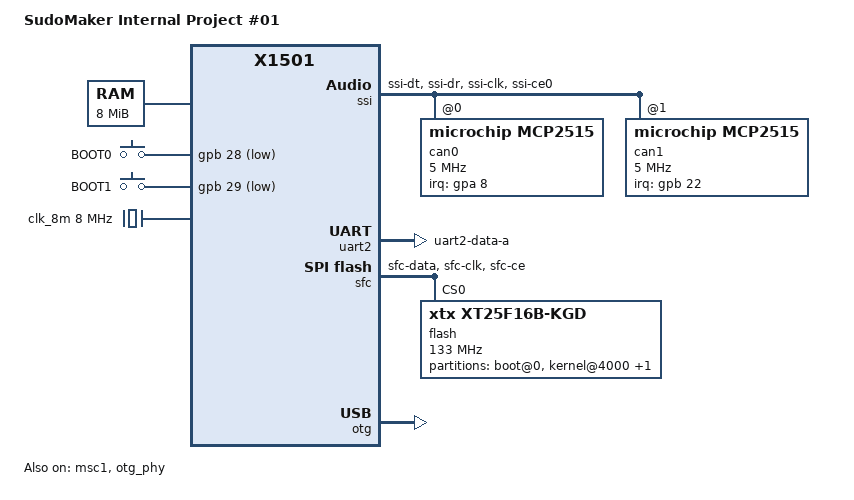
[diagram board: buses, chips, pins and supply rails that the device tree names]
/dts-v1/;

#include "x1501.dtsi"
#include <dt-bindings/gpio/gpio.h>
#include <dt-bindings/input/input.h>
#include <dt-bindings/clock/ingenic,sysost.h>
#include <dt-bindings/interrupt-controller/irq.h>

/ {
	compatible = "sudomaker,internal-01", "ingenic,x1501";
	model = "SudoMaker Internal Project #01";

	aliases {
		serial2 = &uart2;
	};

	chosen {
		stdout-path = "serial2:115200n8";
	};

	memory {
		device_type = "memory";
		reg = <0x0 0x00800000>;
	};

	gpio_keys {
		compatible = "gpio-keys";

		btn_lf {
			wakeup-source;
			label = "BOOT0";
			linux,code = <KEY_F1>;
			gpios = <&gpb 28 GPIO_ACTIVE_LOW>;
		};

		btn_rf {
			wakeup-source;
			label = "BOOT1";
			linux,code = <KEY_F2>;
			gpios = <&gpb 29 GPIO_ACTIVE_LOW>;
		};
	};

	clk_8m: clock {
		compatible = "fixed-clock";
		#clock-cells = <0>;
		clock-frequency = <8000000>;
		clock-accuracy = <100>;
	};
};

&exclk {
	clock-frequency = <24000000>;
};

&cgu {
	assigned-clocks = <&cgu X1000_CLK_SSIMUX>, <&cgu X1000_CLK_RTC>;
	assigned-clock-parents = <&cgu X1000_CLK_SSIPLL_DIV2>, <&cgu X1000_CLK_EXCLK_DIV512>;
};

&ost {
	/* 1500 kHz for the system timer and clocksource */
	assigned-clocks = <&ost OST_CLK_EVENT_TIMER>, <&ost OST_CLK_GLOBAL_TIMER>;
	assigned-clock-rates = <1500000>, <1500000>;
};

&ssi {
	status = "okay";

	pinctrl-names = "default";
	pinctrl-0 = <&pins_spi0>;

	num-cs = <2>;
	cs-gpios = <0>, <&gpb 21 GPIO_ACTIVE_LOW>;

	can0: can@0 {
				compatible = "microchip,mcp2515";
				spi-max-frequency = <5000000>;
				reg = <0>;
				clocks = <&clk_8m>;
				interrupt-parent = <&gpa>;
				interrupts = <8 IRQ_TYPE_LEVEL_LOW>;
				gpio-controller;
				#gpio-cells = <2>;
	};

	can1: can@1 {
				compatible = "microchip,mcp2515";
				spi-max-frequency = <5000000>;
				reg = <1>;
				clocks = <&clk_8m>;
				interrupt-parent = <&gpb>;
				interrupts = <22 IRQ_TYPE_LEVEL_LOW>;
				gpio-controller;
				#gpio-cells = <2>;
	};

};

&uart2 {
	status = "okay";

	pinctrl-names = "default";
	pinctrl-0 = <&pins_uart2>;
};

&sfc {
	status = "okay";

	#address-cells = <1>;
	#size-cells = <0>;

	pinctrl-names = "default";
	pinctrl-0 = <&pins_sfc>;

	flash: xt25f16b@0 {
		compatible = "xtx,xt25f16b-kgd", "jedec,spi-nor";
		spi-max-frequency = <133000000>;
		reg = <0>;

		spi-rx-bus-width = <4>;
		spi-tx-bus-width = <4>;

		partitions {
			compatible = "fixed-partitions";
			#address-cells = <1>;
			#size-cells = <1>;

			boot@0 {
				reg = <0x000000 0x004000>;
			};

			kernel@4000 {
				reg = <0x004000 0x100000>;
			};

			rootfs@104000 {
				reg = <0x104000 0x11B000>;
			};
		};
	};
};

&msc1 {
	status = "okay";

	bus-width = <4>;
	max-frequency = <25000000>;

	pinctrl-names = "default";
	pinctrl-0 = <&pins_msc1>;

	non-removable;
};


&otg_phy {
	status = "okay";
	wakeup-source;
};

&otg {
	status = "okay";
	wakeup-source;
};

&pinctrl {
	pins_msc1: msc1 {
		function = "mmc1";
		groups = "mmc1-1bit", "mmc1-4bit";
		bias-disable;
	};

	pins_sfc: sfc {
		function = "sfc";
		groups = "sfc-data", "sfc-clk", "sfc-ce";
		bias-disable;
	};

	pins_spi0: spi0 {
		function = "ssi";
		groups = "ssi-dt", "ssi-dr", "ssi-clk", "ssi-ce0";
	};

	pins_uart2: uart2 {
		function = "uart2";
		groups = "uart2-data-a";
	};
};

